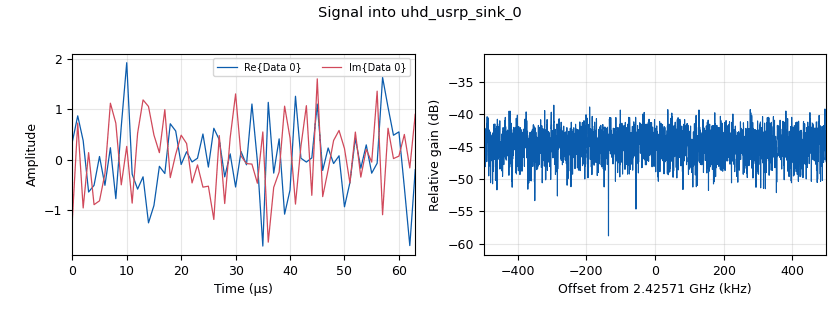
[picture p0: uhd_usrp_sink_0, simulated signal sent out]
options:
  parameters:
    category: Custom
    generate_options: no_gui
    id: SimpliciTI_GFSK_USRPX310_Gaussian
    output_language: python
  states: {}

blocks:
- name: frequency
  id: variable
  parameters:
    value: 2425.715e6
  states: {}
- name: ip_address
  id: variable
  parameters:
    value: '"192.168.40.2"'
  states: {}
- name: notes
  id: variable
  parameters:
    value: '"Jams SimpliciTI with a Gaussian noise source."'
  states: {}
- name: sample_rate
  id: variable
  parameters:
    value: 1e6
  states: {}
- name: tx_usrp_antenna
  id: variable
  parameters:
    value: '"TX/RX"'
  states: {}
- name: tx_usrp_channel
  id: variable
  parameters:
    value: '"A:0"'
  states: {}
- name: usrp_gain
  id: variable
  parameters:
    value: '20'
  states: {}
- name: analog_noise_source_x_0
  id: analog_noise_source_x
  parameters:
    amp: '1'
    noise_type: analog.GR_GAUSSIAN
    seed: '0'
    type: complex
  states: {}
- name: uhd_usrp_sink_0
  id: uhd_usrp_sink
  parameters:
    ant0: tx_usrp_antenna
    center_freq0: frequency
    clock_rate: '0.0'
    dev_addr: '"addr=" + ip_address'
    dev_args: '""'
    gain0: usrp_gain
    len_tag_name: ''
    samp_rate: sample_rate
    sd_spec0: tx_usrp_channel
    sync: sync
    type: fc32
  states: {}

connections:
- [analog_noise_source_x_0, '0', uhd_usrp_sink_0, '0']

metadata:
  file_format: 1
  grc_version: v3.11.0.0git-207-gcaa7e7f1
